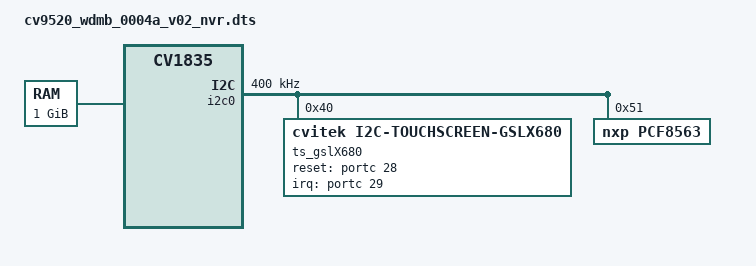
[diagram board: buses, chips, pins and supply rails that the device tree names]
#include "cv1835_asic.dtsi"

/ {
	memory {
		reg = <0x1 0x00000000 0x0 0x40000000>; // 1GB
		device_type = "memory";
	};

	reserved-memory {
	  #size-cells = <0x2>;
	  #address-cells = <0x2>;
	  ranges;

		cma_reserved: linux,cma {
			compatible = "shared-dma-pool";
			reusable;
			size = <0x0 0x600000>; // 6MB
			alignment = <0x0 0x200000>; // 2MB
			linux,cma-default;
		};

		ion_reserved: ion {
			compatible = "ion-region";
			size = <0x0 0x1C200000>; //400MB + 20MB
		};

		vcodec_reserved: vcodec {
			alloc-ranges = <0x1 0x00000000 0 0xF0000000>;
			size = <0x0 0x00180000>; // 1.5MB
			no-map;
		};

		jpu_reserved: jpu {
			alloc-ranges = <0x1 0x00000000 0 0xFFFFFFFF>;
			size = <0x0 0x01000000>; // 16MB
			no-map;
		};
	};

	vip {
		compatible = "cvitek,vip";
		reg = <0x0 0x0a080000 0x0 0x10000>,<0x0 0x0a0a0000 0x0 0x2000>,
		      <0x0 0x0a0c8000 0x0 0xa0>,<0x0 0x0a000000 0x0 0x80000>,
		      <0x0 0x0300c000 0x0 0x100>;
		reg-names = "sc","dwa","vip_sys","isp","dphy";
		interrupts = <GIC_SPI 139 IRQ_TYPE_LEVEL_HIGH>,
			     <GIC_SPI 157 IRQ_TYPE_LEVEL_HIGH>,
			     <GIC_SPI 138 IRQ_TYPE_LEVEL_HIGH>;
		interrupt-names = "sc","dwa","isp";
		cvitek,cif-modules = <&mipi_rx>;
		clocks = <&clk CV1835_CLK_AXI_VIP>, <&clk CV1835_CLK_SRC_VIP_SYS_0>,
			<&clk CV1835_CLK_SRC_VIP_SYS_1>, <&clk CV1835_CLK_SRC_VIP_SYS_2>,
			<&clk CV1835_CLK_ISP_TOP_VIP>, <&clk CV1835_CLK_IMG_D_VIP>,
			<&clk CV1835_CLK_IMG_V_VIP>, <&clk CV1835_CLK_SC_TOP_VIP>,
			<&clk CV1835_CLK_SC_D_VIP>, <&clk CV1835_CLK_SC_V1_VIP>,
			<&clk CV1835_CLK_SC_V2_VIP>, <&clk CV1835_CLK_SC_V3_VIP>,
			<&clk CV1835_CLK_DWA_VIP>, <&clk CV1835_CLK_BT_VIP>,
			<&clk CV1835_CLK_DISP_VIP>, <&clk CV1835_CLK_DSI_MAC_VIP>,
			<&clk CV1835_CLK_CSI_MAC0_VIP>, <&clk CV1835_CLK_CSI_MAC1_VIP>;
		clock-names = "clk_axi", "clk_sys_0",
			"clk_sys_1", "clk_sys_2",
			"clk_isp_top", "clk_img_d",
			"clk_img_v", "clk_sc_top",
			"clk_sc_d", "clk_sc_v1",
			"clk_sc_v2", "clk_sc_v3",
			"clk_dwa", "clk_bt",
			"clk_disp", "clk_dsi",
			"clk_csi_mac0", "clk_csi_mac1";
		clock-freq-vip-sys1 = <375000000>;
	};

	/delete-node/ cvi-spif@10000000;
	/delete-node/ cv-spinf@4060000;
	/delete-node/ i2c@04000000;
	/delete-node/ i2c@04010000;
	/delete-node/ i2c@04020000;
	/delete-node/ i2s@04110000;
	/delete-node/ sound_ext1;
	/delete-node/ sound_ext2;
	/delete-node/ sound_PDM;
	/delete-node/ cif;

	i2c0: i2c@04000000 {
		compatible = "snps,designware-i2c";
		clocks = <&clk CV1835_CLK_I2C>;
		reg = <0x0 0x04000000 0x0 0x1000>;
		interrupts = <GIC_SPI 74 IRQ_TYPE_LEVEL_HIGH>;
		clock-frequency = <400000>;

		#size-cells = <0x0>;
		#address-cells = <0x1>;
		resets = <&rst RST_I2C0>;
		reset-names = "i2c0";

		ts_gslX680: ts_gslX680@40 {
			compatible = "cvitek,i2c-touchscreen-gslX680";
			reg = <0x40>;
			reset-gpio = <&portc 28 GPIO_ACTIVE_HIGH>;
			irq-gpio = <&portc 29 GPIO_ACTIVE_HIGH>;
			status = "okay";
		};

		pcf8563: pcf8563@0x51 {
			compatible = "nxp,pcf8563";
			reg = <0x51>;
		};
	};
	mipi_rx: cif {
		compatible = "cvitek,cif";
		reg = <0x0 0x0a0c2000 0x0 0x2000>, <0x0 0x0300b000 0x0 0x1000>,
			<0x0 0x0a0c4000 0x0 0x2000>, <0x0 0x0300d000 0x0 0x1000>;
		reg-names = "csi_mac0", "csi_wrap0", "csi_mac1", "csi_wrap1";
		interrupts = <GIC_SPI 155 IRQ_TYPE_LEVEL_HIGH>, <GIC_SPI 156 IRQ_TYPE_LEVEL_HIGH>;
		interrupt-names = "csi0", "csi1";
		resets = <&rst RST_CSIPHY0>, <&rst RST_CSIPHY1>,
			<&rst RST_CSIPHY0RST_APB>, <&rst RST_CSIPHY1RST_APB>;
		reset-names = "phy0", "phy1", "phy-apb0", "phy-apb1";
		clocks = <&clk CV1835_CLK_CAM0>, <&clk CV1835_CLK_CAM1>, <&clk CV1835_CLK_SRC_VIP_SYS_2>,
			<&clk CV1835_CLK_DIV_0_SRC_VIP_SYS_2>, <&clk CV1835_CLK_DIV_1_SRC_VIP_SYS_2>;
		clock-names = "clk_cam0", "clk_cam1", "clk_sys_2", "clk_div_0_src_vip_sys_2",
				"clk_div_1_src_vip_sys_2";
	};

	sysdma_remap {
		ch-remap = <CVI_I2S0_RX CVI_I2S0_TX CVI_I2S1_RX CVI_I2S1_TX
					CVI_I2S2_RX CVI_I2S2_TX CVI_I2S3_RX CVI_I2S3_TX>;
	};

	lt9611 {
		compatible = "cvitek,lt9611";
	};

	sound_lt9611 {
		compatible = "cvitek,cv1835-lt9611";
		cvi,model = "CV1835";
		cvi,card_name = "cvi_lt9611";
		cvi,cpu_dai_name = "4120000.i2s";
		cvi,platform_name = "4120000.i2s";
	};

	aliases {

	};
};

&i2s2 {
	capability = "tx";
};
